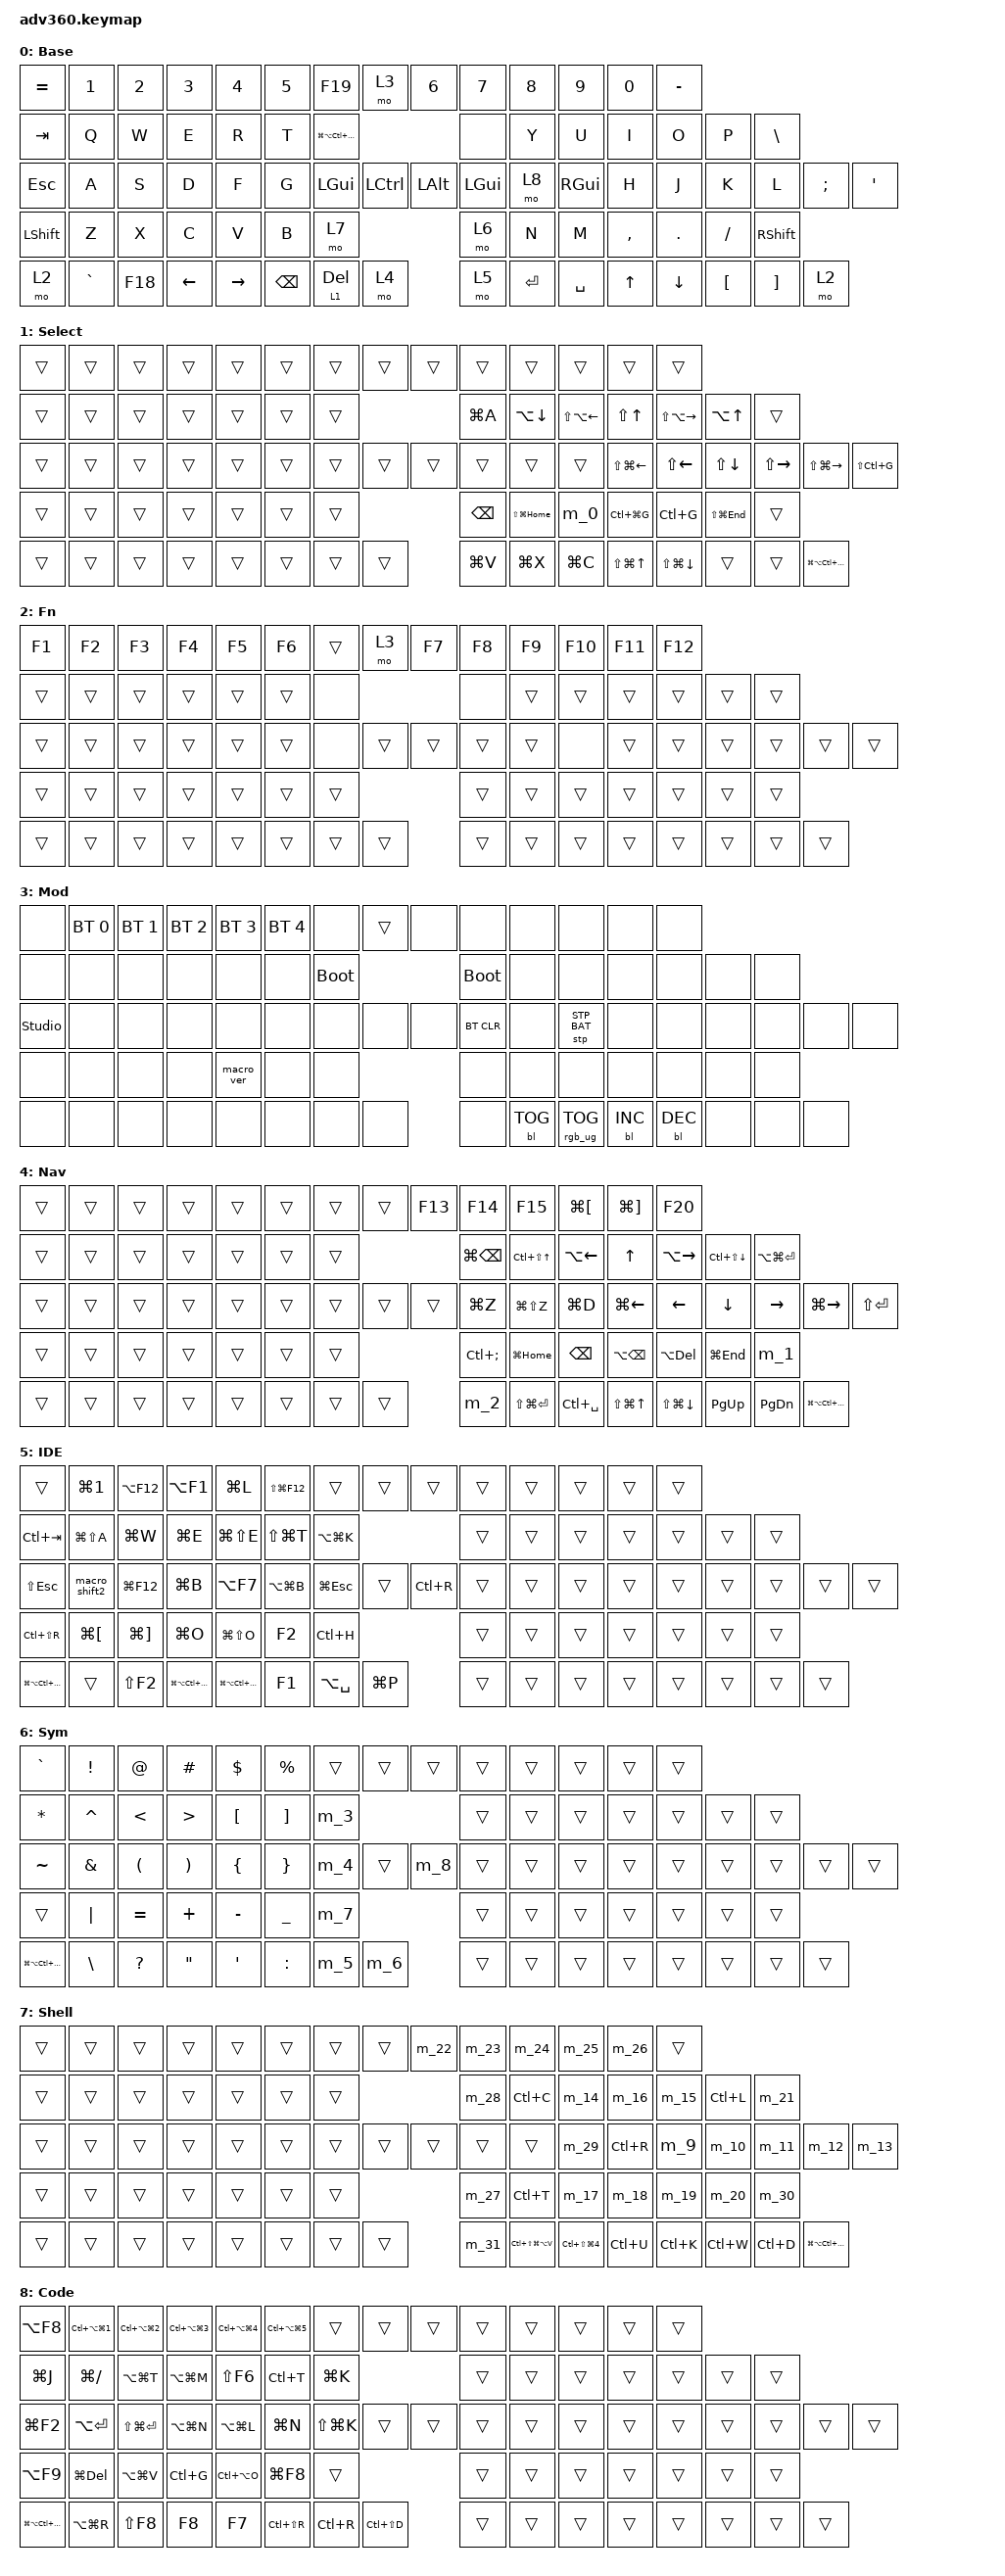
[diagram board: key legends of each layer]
#include <behaviors.dtsi>
#include <dt-bindings/zmk/keys.h>
#include <dt-bindings/zmk/bt.h>
#include <dt-bindings/zmk/rgb.h>
#include <dt-bindings/zmk/stp.h>
#include <dt-bindings/zmk/backlight.h>
#include <dt-bindings/zmk/pointing.h>

/ {
    behaviors {
      #include "macros.dtsi"
      #include "version.dtsi"

      hm: homerow_mods {
          compatible = "zmk,behavior-hold-tap";
          label = "HOMEROW_MODS";
          #binding-cells = <2>;
          tapping-term-ms = <200>;
          quick_tap_ms = <175>;
          flavor = "tap-preferred";
          bindings = <&kp>, <&kp>;
      };
    };

  keymap {
    compatible = "zmk,keymap";

    default_layer {
      display-name = "Base";
      bindings = <
        &kp EQUAL &kp N1 &kp N2 &kp N3 &kp N4 &kp N5 &kp F19 &mo 3 &kp N6 &kp N7 &kp N8 &kp N9 &kp N0 &kp MINUS
        &kp TAB &kp Q &kp W &kp E &kp R &kp T &kp LG(LA(LC(LS(F7)))) &none &kp Y &kp U &kp I &kp O &kp P &kp BSLH
        &kp ESC &kp A &kp S &kp D &kp F &kp G &kp LGUI &kp LCTRL &kp LALT &kp LGUI &mo 8 &kp RGUI &kp H &kp J &kp K &kp L &kp SEMI &kp SQT
        &kp LSHFT &kp Z &kp X &kp C &kp V &kp B &mo 7 &mo 6 &kp N &kp M &kp COMMA &kp DOT &kp FSLH &kp RSHFT
        &mo 2 &kp GRAVE &kp F18 &kp LEFT &kp RIGHT &kp BSPC &lt_hp 1 DEL &mo 4 &mo 5 &kp ENTER &kp SPACE &kp UP &kp DOWN &kp LBKT &kp RBKT &mo 2
      >;
    };
    keypad {
      display-name = "Select";
      bindings = <
        &trans &trans &trans &trans &trans &trans &trans &trans &trans &trans &trans &trans &trans &trans
        &trans &trans &trans &trans &trans &trans &trans &kp LG(A) &kp LA(DOWN) &kp LS(LA(LEFT)) &kp LS(UP) &kp LS(LA(RIGHT)) &kp LA(UP) &trans
        &trans &trans &trans &trans &trans &trans &trans &trans &trans &trans &trans &trans &kp LS(LG(LEFT)) &kp LS(LEFT) &kp LS(DOWN) &kp LS(RIGHT) &kp LS(LG(RIGHT)) &kp LS(LC(G))
        &trans &trans &trans &trans &trans &trans &trans &kp BSPC &kp LS(LG(HOME)) &m_0 &kp LC(LG(G)) &kp LC(G) &kp LS(LG(END)) &trans
        &trans &trans &trans &trans &trans &trans &trans &trans &kp LG(V) &kp LG(X) &kp LG(C) &kp LS(LG(UP)) &kp LS(LG(DOWN)) &trans &trans &kp LG(LA(LC(LS(F1))))
      >;
    };
    fn {
      display-name = "Fn";
      bindings = <
        &kp F1 &kp F2 &kp F3 &kp F4 &kp F5 &kp F6 &trans                                           &mo 3 &kp F7 &kp F8 &kp F9 &kp F10 &kp F11 &kp F12
        &trans &trans &trans &trans &trans &trans  &none                                           &none &trans &trans &trans &trans  &trans  &trans
        &trans &trans &trans &trans &trans &trans  &none        &trans &trans &trans &trans        &none &trans &trans &trans &trans  &trans  &trans
        &trans &trans &trans &trans &trans &trans                      &trans &trans                     &trans &trans &trans &trans  &trans  &trans
        &trans &trans &trans &trans &trans               &trans &trans &trans &trans &trans &trans              &trans &trans &trans  &trans  &trans
      >;
    };
    mod {
      display-name = "Mod";
      bindings = <
        &none &bt BT_SEL 0 &bt BT_SEL 1 &bt BT_SEL 2 &bt BT_SEL 3 &bt BT_SEL 4 &none                                                                     &trans                 &none        &none        &none        &none &none &none
        &none &none        &none        &none        &none        &none        &bootloader                                                               &bootloader            &none        &none        &none        &none &none &none
        &studio_unlock &none        &none        &none        &none        &none        &none                   &none &none &bt BT_CLR &none                      &stp STP_BAT &none        &none        &none        &none &none &none
        &none &none        &none        &none        &macro_ver   &none                                      &none &none                                                        &none        &none        &none        &none &none &none
        &none &none        &none        &none        &none                                       &none &none &none &none      &bl BL_TOG &rgb_ug RGB_TOG                                     &bl BL_INC   &bl BL_DEC   &none &none &none
      >;
    };
    extra1 {
      display-name = "Nav";
      bindings = <
        &trans &trans &trans &trans &trans &trans &trans &trans &kp F13 &kp F14 &kp F15 &kp LG(LBKT) &kp LG(RBKT) &kp F20
        &trans &trans &trans &trans &trans &trans &trans &kp LG(BSPC) &kp LC(LS(UP)) &kp LA(LEFT) &kp UP &kp LA(RIGHT) &kp LC(LS(DOWN)) &kp LA(LG(RET))
        &trans &trans &trans &trans &trans &trans &trans &trans &trans &kp LG(Z) &kp LG(LS(Z)) &kp LG(D) &kp LG(LEFT) &kp LEFT &kp DOWN &kp RIGHT &kp LG(RIGHT) &kp LS(RET)
        &trans &trans &trans &trans &trans &trans &trans &kp LC(SEMI) &kp LG(HOME) &kp BSPC &kp LA(BSPC) &kp LA(DEL) &kp LG(END) &m_1
        &trans &trans &trans &trans &trans &trans &trans &trans &m_2 &kp LS(LG(RET)) &kp LC(SPACE) &kp LS(LG(UP)) &kp LS(LG(DOWN)) &kp PG_UP &kp PG_DN &kp LG(LA(LC(LS(F2))))
      >;
    };

    extra2 {
      display-name = "IDE";
      bindings = <
        &trans &kp LG(N1) &kp LA(F12) &kp LA(F1) &kp LG(L) &kp LS(LG(F12)) &trans &trans &trans &trans &trans &trans &trans &trans
        &kp LC(TAB) &kp LG(LS(A)) &kp LG(W) &kp LG(E) &kp LG(LS(E)) &kp LS(LG(T)) &kp LA(LG(K)) &trans &trans &trans &trans &trans &trans &trans
        &kp LS(ESC) &macro_shift2 &kp LG(F12) &kp LG(B) &kp LA(F7) &kp LA(LG(B)) &kp LG(ESC) &trans &kp LC(R) &trans &trans &trans &trans &trans &trans &trans &trans &trans
        &kp LC(LS(R)) &kp LG(LBKT) &kp LG(RBKT) &kp LG(O) &kp LG(LS(O)) &kp F2 &kp LC(H) &trans &trans &trans &trans &trans &trans &trans
        &kp LG(LA(LC(LS(F4)))) &trans &kp LS(F2) &kp LG(LA(LC(LS(LEFT)))) &kp LG(LA(LC(LS(RIGHT)))) &kp F1 &kp LA(SPACE) &kp LG(P) &trans &trans &trans &trans &trans &trans &trans &trans
      >;
    };

    extra3 {
      display-name = "Sym";
      bindings = <
        &kp GRAVE &kp EXCL &kp AT &kp HASH &kp DLLR &kp PRCNT &trans &trans &trans &trans &trans &trans &trans &trans
        &kp STAR &kp CARET &kp LT &kp GT &kp LBKT &kp RBKT &m_3 &trans &trans &trans &trans &trans &trans &trans
        &kp TILDE &kp AMPS &kp LPAR &kp RPAR &kp LBRC &kp RBRC &m_4 &trans &m_8 &trans &trans &trans &trans &trans &trans &trans &trans &trans
        &trans &kp PIPE &kp EQUAL &kp PLUS &kp MINUS &kp UNDER &m_7 &trans &trans &trans &trans &trans &trans &trans
        &kp LG(LA(LC(LS(F5)))) &kp BSLH &kp QMARK &kp DQT &kp SQT &kp COLON &m_5 &m_6 &trans &trans &trans &trans &trans &trans &trans &trans
      >;
    };

    extra4 {
      display-name = "Shell";
      bindings = <
        &trans &trans &trans &trans &trans &trans &trans &trans &m_22 &m_23 &m_24 &m_25 &m_26 &trans
        &trans &trans &trans &trans &trans &trans &trans &m_28 &kp LC(C) &m_14 &m_16 &m_15 &kp LC(L) &m_21
        &trans &trans &trans &trans &trans &trans &trans &trans &trans &trans &trans &m_29 &kp LC(R) &m_9 &m_10 &m_11 &m_12 &m_13
        &trans &trans &trans &trans &trans &trans &trans &m_27 &kp LC(T) &m_17 &m_18 &m_19 &m_20 &m_30
        &trans &trans &trans &trans &trans &trans &trans &trans &m_31 &kp LC(LS(LG(LA(V)))) &kp LC(LS(LG(N4))) &kp LC(U) &kp LC(K) &kp LC(W) &kp LC(D) &kp LG(LA(LC(LS(F3))))
      >;
    };
    code_layer {
      display-name = "Code";
      bindings = <
        &kp LA(F8) &kp LC(LA(LG(N1))) &kp LC(LA(LG(N2))) &kp LC(LA(LG(N3))) &kp LC(LA(LG(N4))) &kp LC(LA(LG(N5))) &trans &trans &trans &trans &trans &trans &trans &trans
        &kp LG(J) &kp LG(FSLH) &kp LA(LG(T)) &kp LA(LG(M)) &kp LS(F6) &kp LC(T) &kp LG(K) &trans &trans &trans &trans &trans &trans &trans
        &kp LG(F2) &kp LA(RET) &kp LS(LG(RET)) &kp LA(LG(N)) &kp LA(LG(L)) &kp LG(N) &kp LS(LG(K)) &trans &trans &trans &trans &trans &trans &trans &trans &trans &trans &trans
        &kp LA(F9) &kp LG(DEL) &kp LA(LG(V)) &kp LC(G) &kp LC(LA(O)) &kp LG(F8) &trans &trans &trans &trans &trans &trans &trans &trans
        &kp LG(LA(LC(LS(F6)))) &kp LA(LG(R)) &kp LS(F8) &kp F8 &kp F7 &kp LC(LS(R)) &kp LC(R) &kp LC(LS(D)) &trans &trans &trans &trans &trans &trans &trans &trans
      >;
    };
  };
};
